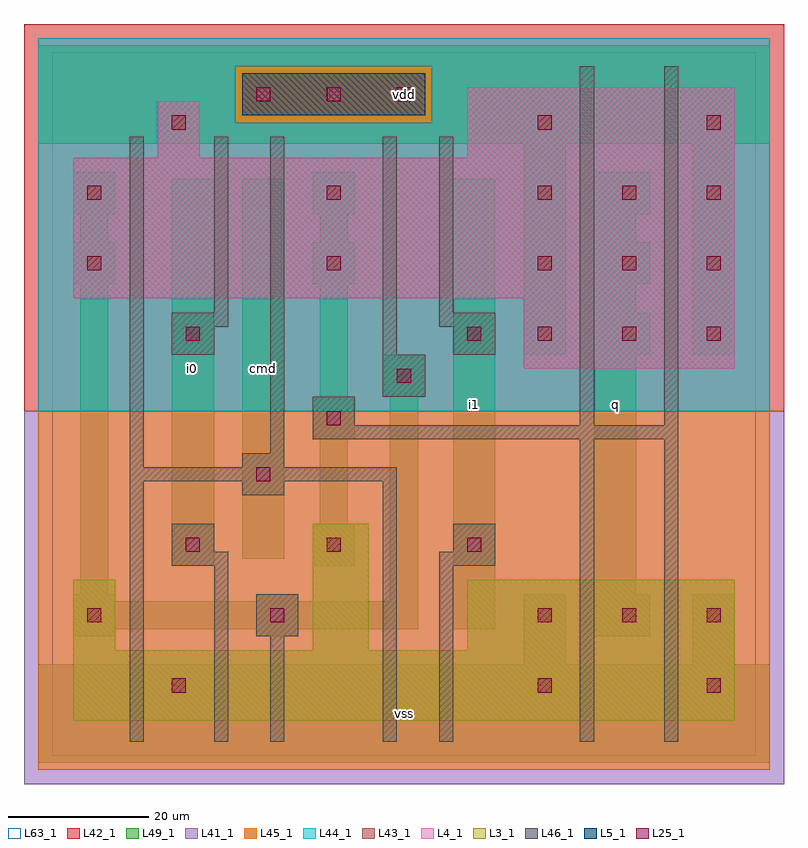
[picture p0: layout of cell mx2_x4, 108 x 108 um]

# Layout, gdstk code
import gdstk
lib = gdstk.Library(unit=1e-6, precision=1e-09)
def R(c, l, rs):  # rectangles x0, y0, x1, y1
    for r in rs: c.add(gdstk.rectangle(r[:2], r[2:], *l))
def A(c, l, x, y, w, h, nx, ny, dx, dy):  # array of equal rectangles
    R(c, l, [(x+i*dx, y+j*dy, x+i*dx+w, y+j*dy+h) for i in range(nx) for j in range(ny)])
L3_1 = (3, 1)
L4_1 = (4, 1)
L5_1 = (5, 1)
L25_1 = (25, 1)
L41_1 = (41, 1)
L42_1 = (42, 1)
L43_1 = (43, 1)
L44_1 = (44, 1)
L45_1 = (45, 1)
L46_1 = (46, 1)
L49_1 = (49, 1)
L63_1 = (63, 1)

mx2_x4 = lib.new_cell('mx2_x4')
R(mx2_x4, L3_1, [(3,5,97,15), (3,15,9,25), (37,15,45,33), (59,15,97,25)])
R(mx2_x4, L4_1, [(67,55,97,65), (3,65,97,85), (15,85,21,93), (59,85,97,95)])
R(mx2_x4, L5_1, [(27,91,53,97)])
A(mx2_x4, L25_1, 69, 19, 2, 2, 3, 2, 12, 40)
A(mx2_x4, L25_1, 19, 29, 2, 2, 3, 1, 20, 0)
A(mx2_x4, L25_1, 69, 69, 2, 2, 3, 2, 12, 10)
A(mx2_x4, L25_1, 29, 93, 2, 2, 3, 1, 10, 0)
R(mx2_x4, L25_1, [(17,9,19,11), (69,9,71,11), (93,9,95,11), (5,19,7,21), (31,19,33,21), (29,39,31,41), (39,47,41,49), (49,53,51,55), (19,59,21,61), (59,59,61,61), (5,69,7,71), (39,69,41,71), (5,79,7,81), (39,79,41,81), (17,89,19,91), (69,89,71,91), (93,89,95,91)])
R(mx2_x4, L41_1, [(-4,-4,104,49)])
R(mx2_x4, L42_1, [(-4,49,104,104)])
R(mx2_x4, L43_1, [(3,5,97,15), (3,15,9,25), (37,15,45,33), (59,15,97,25), (67,55,97,65), (3,65,97,85), (15,85,21,93), (59,85,97,95), (27,91,53,97)])
R(mx2_x4, L44_1, [(-2,49,102,90), (-2,90,26,98), (54,90,102,98), (-2,98,102,102)])
R(mx2_x4, L45_1, [(-2,-2,102,49), (26,90,54,98)])
R(mx2_x4, L46_1, [(11,2,13,39), (23,2,25,27), (31,2,33,17), (47,2,49,39), (55,2,57,27), (75,2,77,45), (87,2,89,45), (29,17,35,23), (17,27,25,29), (55,27,63,29), (17,29,23,33), (57,29,63,33), (27,37,33,39), (11,39,49,41), (11,41,13,88), (27,41,33,43), (31,43,33,88), (37,45,89,47), (37,47,43,51), (75,47,77,98), (87,47,89,98), (47,51,53,57), (17,57,23,61), (47,57,49,88), (57,57,63,61), (17,61,25,63), (55,61,63,63), (23,63,25,88), (55,63,57,88)])
A(mx2_x4, L49_1, 77, 57, 8, 6, 1, 3, 0, 10)
R(mx2_x4, L49_1, [(-2,-1,102,13), (67,13,73,23), (91,13,97,23), (3,17,9,18), (29,17,35,18), (77,17,85,23), (3,18,52,22), (57,18,63,82), (3,22,9,23), (29,22,35,23), (48,22,52,51), (4,23,8,67), (77,23,83,57), (17,27,23,82), (37,27,43,33), (27,28,33,82), (38,33,42,45), (37,45,43,51), (38,51,42,67), (47,51,53,57), (67,57,73,87), (91,57,97,87), (77,63,83,67), (3,67,9,73), (37,67,43,73), (4,73,8,77), (38,73,42,77), (77,73,83,77), (3,77,9,83), (37,77,43,83), (-2,87,102,101)])
R(mx2_x4, L63_1, [(0,0,100,100)])
mx2_x4.add(gdstk.Label('i0', (20,55), layer=49, texttype=1))
mx2_x4.add(gdstk.Label('i0', (20,55), layer=49, texttype=1))
mx2_x4.add(gdstk.Label('cmd', (30,55), layer=49, texttype=1))
mx2_x4.add(gdstk.Label('cmd', (30,55), layer=49, texttype=1))
mx2_x4.add(gdstk.Label('vss', (50,6), layer=49, texttype=1))
mx2_x4.add(gdstk.Label('vss', (50,6), layer=49, texttype=1))
mx2_x4.add(gdstk.Label('i1', (60,50), layer=49, texttype=1))
mx2_x4.add(gdstk.Label('i1', (60,50), layer=49, texttype=1))
mx2_x4.add(gdstk.Label('vdd', (50,94), layer=49, texttype=1))
mx2_x4.add(gdstk.Label('vdd', (50,94), layer=49, texttype=1))
mx2_x4.add(gdstk.Label('q', (80,50), layer=49, texttype=1))
mx2_x4.add(gdstk.Label('q', (80,50), layer=49, texttype=1))

lib.write_gds('mx2_x4.gds')
